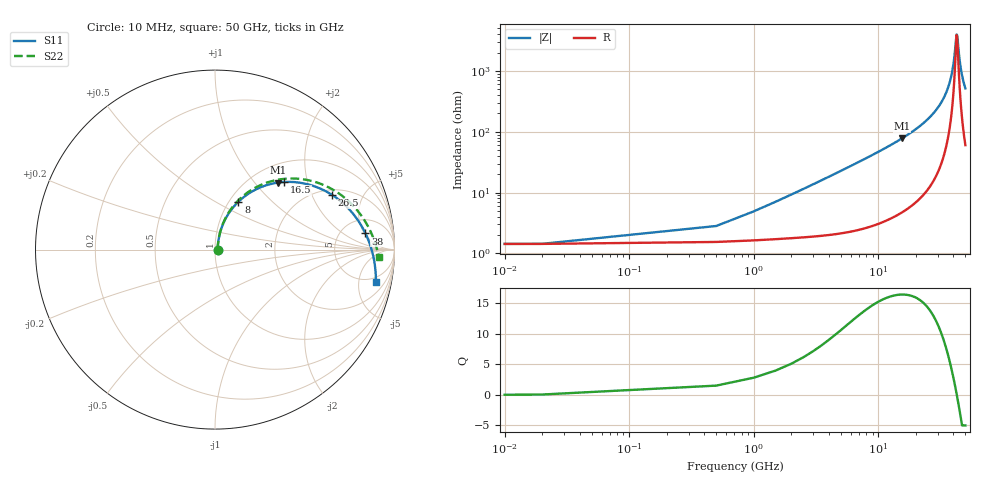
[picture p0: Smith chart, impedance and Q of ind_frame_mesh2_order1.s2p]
! Created with skrf 2.2.0 (http://scikit-rf.org).
# GHz S DB R 50.0
! Port[1] = P1
! Port[2] = P2
!freq dBS11 angS11 dBS21 angS21 dBS12 angS12 dBS22 angS22
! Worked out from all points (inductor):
!   102 points, 10 MHz to 50 GHz, reference 50 ohm
!   read as 1/Y11, port 2 shorted: L = 721 pH near 1.5 GHz
!   highest Q = 16.5 at 15.5 GHz (marker M1), where L = 797 pH
!   self-resonance near 42.5 GHz
!   S11 on the Smith chart (normalised r, x): 10 MHz: 1.03, +0.00; 8 GHz: 1.10, +0.65; 16.5 GHz: 1.36, +1.44; 26.5 GHz: 2.26, +2.86; 38 GHz: 8.44, +5.26; 50 GHz: 3.89, -8.40
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0.01  -37.03 1.8  -0.12 -0.0  -0.12 -0.0  -37.03 1.8
0.5  -31.94 52.1  -0.14 -1.5  -0.14 -1.5  -31.94 52.1
1  -27.38 65.7  -0.15 -2.9  -0.15 -2.9  -27.38 65.8
1.5  -24.27 70.5  -0.17 -4.3  -0.17 -4.3  -24.27 70.7
2  -21.95 72.6  -0.19 -5.7  -0.19 -5.7  -21.95 72.8
2.5  -20.11 73.3  -0.21 -7.1  -0.21 -7.1  -20.11 73.6
3.5  -17.30 73.0  -0.26 -9.8  -0.26 -9.8  -17.31 73.4
5  -14.33 70.6  -0.36 -13.8  -0.36 -13.8  -14.34 71.3
6.5  -12.19 67.4  -0.49 -17.8  -0.49 -17.8  -12.20 68.3
8  -10.54 63.9  -0.64 -21.7  -0.64 -21.7  -10.55 65.1
8.5  -10.07 62.8  -0.69 -22.9  -0.69 -22.9  -10.08 64.0
11.5  -7.81 55.7  -1.07 -30.2  -1.07 -30.2  -7.82 57.3
15.5  -5.78 46.6  -1.67 -39.3  -1.67 -39.3  -5.80 48.9
16.5  -5.39 44.4  -1.84 -41.5  -1.84 -41.5  -5.40 46.9
17  -5.21 43.4  -1.92 -42.5  -1.92 -42.5  -5.22 45.9
21  -3.99 35.2  -2.63 -50.5  -2.63 -50.5  -4.01 38.3
25.5  -3.02 26.7  -3.50 -58.8  -3.50 -58.8  -3.03 30.6
26.5  -2.84 24.9  -3.70 -60.6  -3.70 -60.6  -2.86 29.0
33.5  -1.90 13.1  -5.16 -71.9  -5.16 -71.9  -1.91 18.4
38  -1.48 6.1  -6.16 -78.6  -6.16 -78.6  -1.49 12.2
42  -1.19 0.2  -7.09 -84.2  -7.09 -84.2  -1.20 7.0
50  -0.78 -11.2  -9.13 -94.7  -9.13 -94.7  -0.79 -2.7
